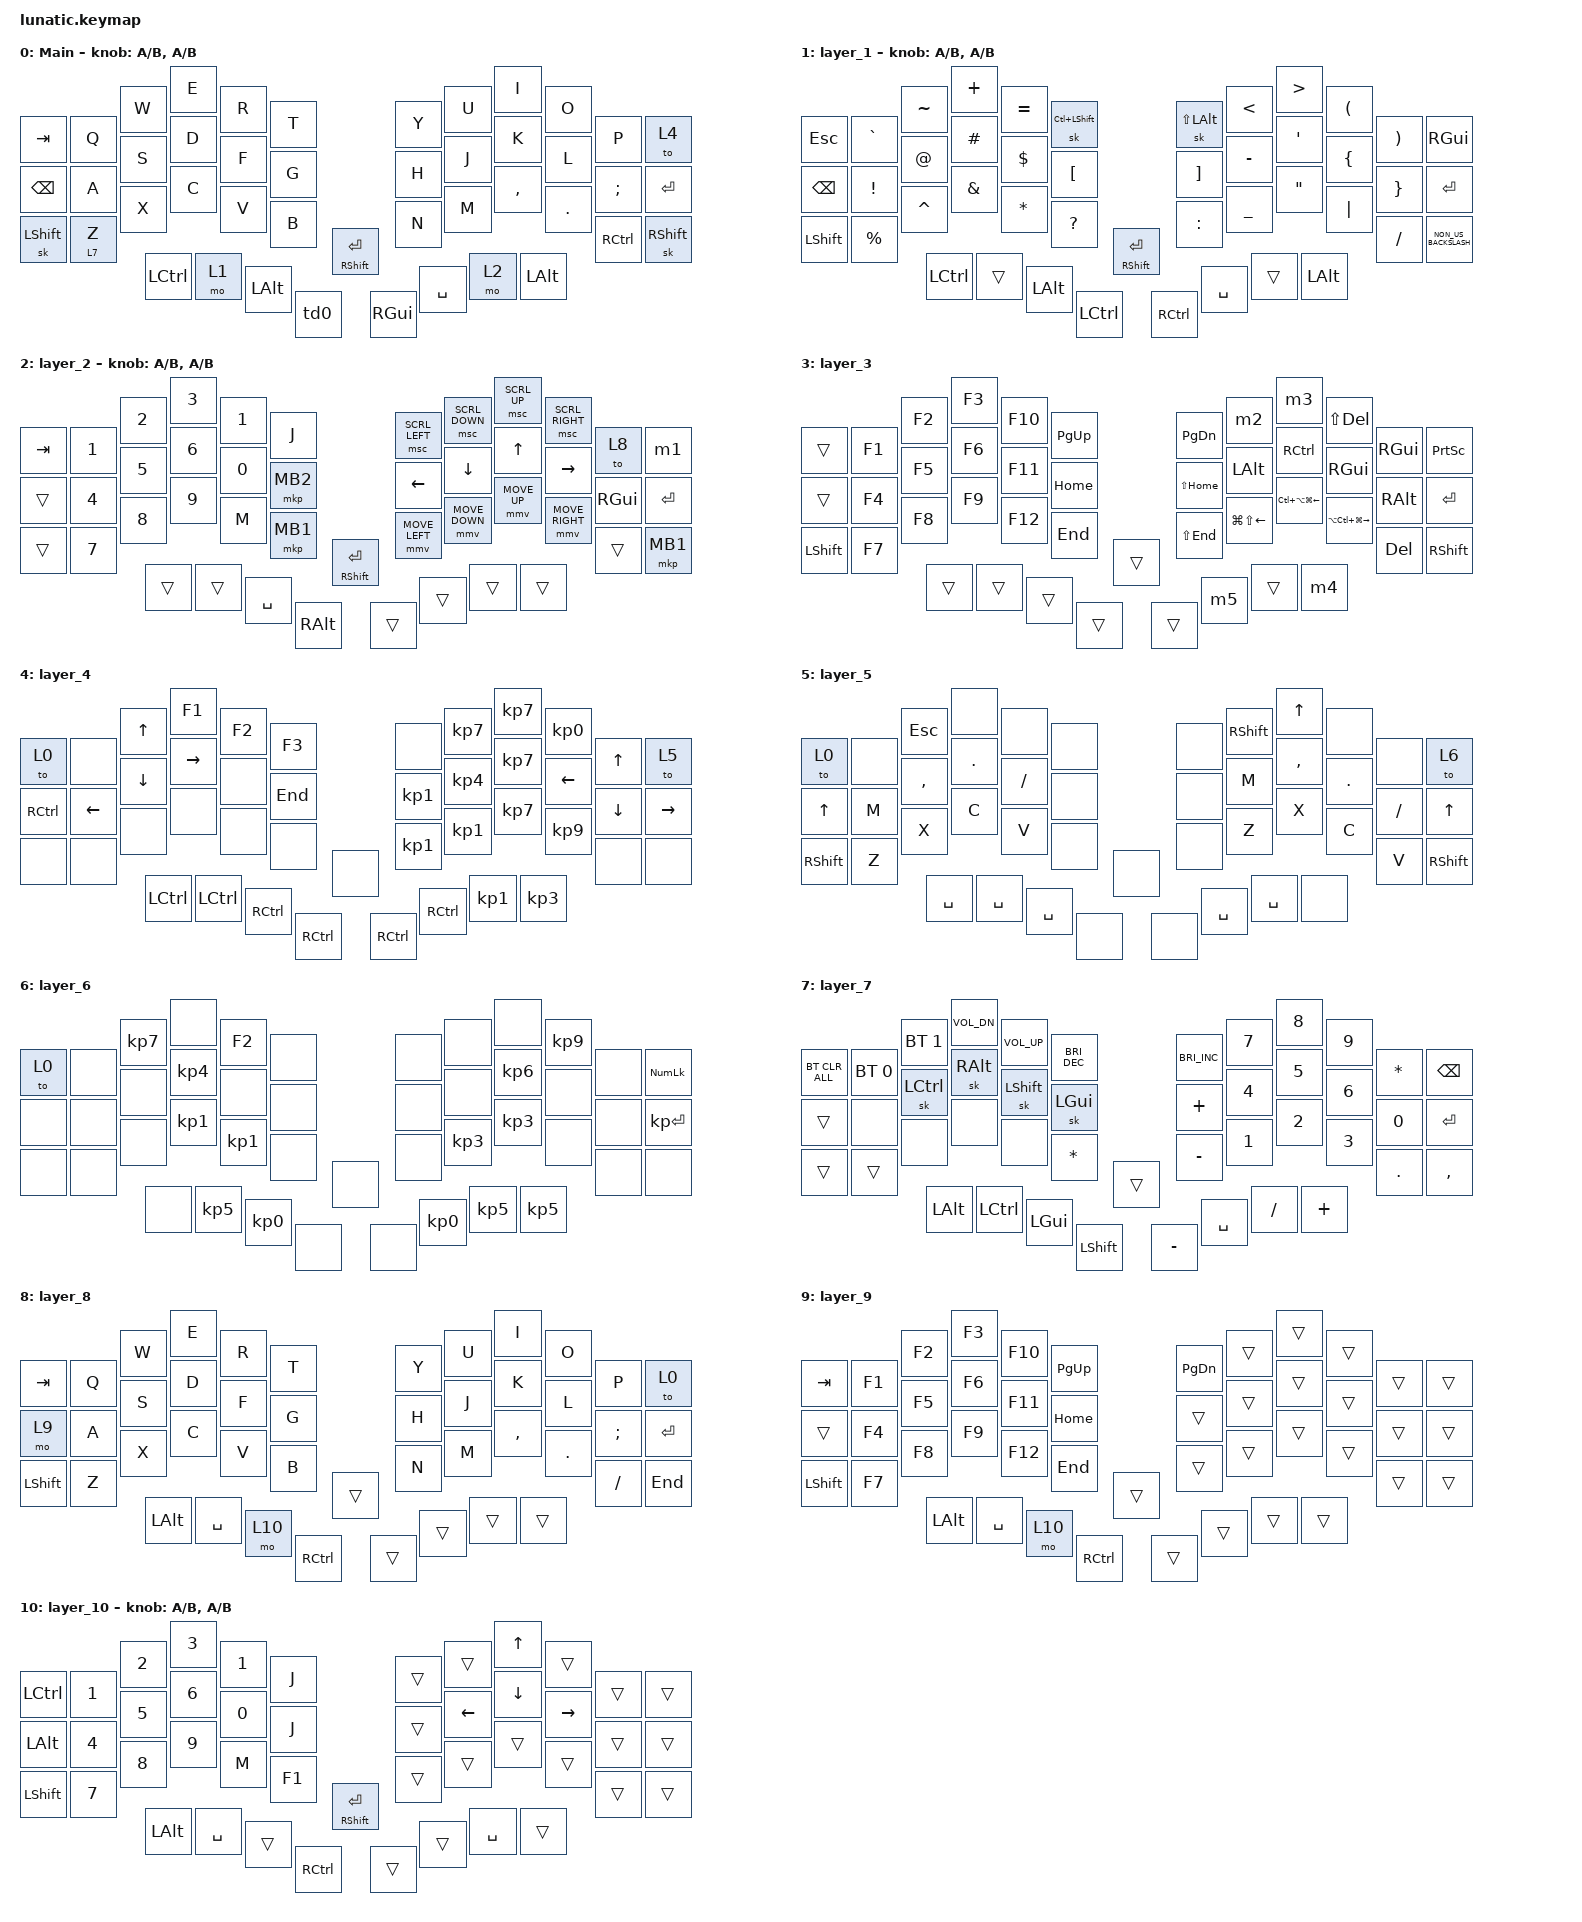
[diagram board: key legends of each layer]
/*
 * Copyright (c) 2020 The ZMK Contributors
 *
 * SPDX-License-Identifier: MIT
 */
// scroll

#define ZMK_POINTING_DEFAULT_MOVE_VAL 1200
#define ZMK_POINTING_DEFAULT_SCRL_VAL 600

#include <dt-bindings/zmk/input_transform.h>
#include <input/processors.dtsi>
#include <zephyr/dt-bindings/input/input-event-codes.h>
#include <dt-bindings/zmk/mouse.h>
#include <behaviors/mouse_keys.dtsi>

//#include <interfaces/hid-trackball.dtsi>  //zmk-hid-trackball-interface

#include <behaviors.dtsi>
#include <dt-bindings/zmk/bt.h>
#include <dt-bindings/zmk/keys.h>
#include <dt-bindings/zmk/pointing.h>

#define Main 0
#define Num 1
#define Mouse 2
#define Opt1 3
#define Opt2 4

//#define ZMK_POINTING_DEFAULT_MOVE_VAL 1200  // 600
//#define ZMK_POINTING_DEFAULT_SCRL_VAL 900   // mousescroll SPEED

&mmv_input_listener { input-processors = <&zip_xy_scaler 2 1>; };

&msc_input_listener { input-processors = <&zip_scroll_scaler 2 1>; };

&msc {
    acceleration-exponent = <1>;      // 0
    time-to-max-speed-ms = <100>;       // 300
    delay-ms = <0>;                   // 0
};

&mmv {
    time-to-max-speed-ms = <420>;
    acceleration-exponent = <1>;
    trigger-period-ms = <14>;
};

&soft_off {
    hold-time-ms = <3000>; // Only turn off it the key is held for 3 seconds or longer.
};

&mt {
    tapping-term-ms = <300>;
    flavor = "tap-preferred";
};

/ {
    behaviors {
        td0: tap_dance_0 {
            compatible = "zmk,behavior-tap-dance";
            #binding-cells = <0>;
            tapping-term-ms = <200>;
            bindings = <&kp LSHFT>, <&caps_word>;
        };
    };

    combos {
        compatible = "zmk,combos";

        esc {
            bindings = <&kp ESCAPE>;
            key-positions = <0 1>;
            layers = <0 8>;
        };

        select_to_bol {
            bindings = <&kp LS(HOME)>;
            key-positions = <30 31>;
            layers = <0>;
        };

        select_to_eol {
            bindings = <&kp RS(END)>;
            key-positions = <32 33>;
            layers = <0>;
        };

        word_backward {
            bindings = <&kp LC(LEFT)>;
            key-positions = <18 19>;
            layers = <0>;
        };

        word_forward {
            bindings = <&kp RC(RIGHT)>;
            key-positions = <20 21>;
            layers = <0>;
        };

        mousekey_3 {
            bindings = <&mkp MB3>;
            key-positions = <29 17>;
            layers = <2>;
        };

        esc-jk {
            bindings = <&kp ESCAPE>;
            key-positions = <19 20>;
            layers = <0>;
        };
    };

    macros {
        m0: m0 {
            compatible = "zmk,behavior-macro";
            #binding-cells = <0>;
            bindings = <&kp EQUAL &kp GT>;
            label = "M0";
        };

        m1: m1 {
            compatible = "zmk,behavior-macro";
            #binding-cells = <0>;
            bindings =
                <&macro_press>,
                <&kp LCTRL &kp LSHFT>,
                <&macro_tap>,
                <&kp ESC>,
                <&macro_release>,
                <&kp LCTRL &kp LSHFT>;

            label = "M1";
        };

        m2: m2 {
            compatible = "zmk,behavior-macro";
            #binding-cells = <0>;
            bindings =
                <&macro_press>,
                <&kp RGUI &kp LCTRL>,
                <&macro_tap>,
                <&kp LEFT>,
                <&macro_release>,
                <&kp RGUI &kp LCTRL>;

            label = "M2";
        };

        m3: m3 {
            compatible = "zmk,behavior-macro";
            #binding-cells = <0>;
            bindings =
                <&macro_press>,
                <&kp RGUI &kp LCTRL>,
                <&macro_tap>,
                <&kp RIGHT>,
                <&macro_release>,
                <&kp RGUI &kp LCTRL>;

            label = "M3";
        };

        m4: m4 {
            compatible = "zmk,behavior-macro";
            #binding-cells = <0>;
            bindings =
                <&macro_press>,
                <&kp RGUI &kp LCTRL>,
                <&macro_tap>,
                <&kp D>,
                <&macro_release>,
                <&kp RGUI &kp LCTRL>;

            label = "M4";
        };

        m5: m5 {
            compatible = "zmk,behavior-macro";
            #binding-cells = <0>;
            bindings =
                <&macro_press>,
                <&kp RGUI &kp LCTRL>,
                <&macro_tap>,
                <&kp F4>,
                <&macro_release>,
                <&kp RGUI &kp LCTRL>;

            label = "M5";
        };
    };

    keymap {
        compatible = "zmk,keymap";

        Main {
            display-name = "Main";
            bindings = <
&kp TAB        &kp Q    &kp W      &kp E  &kp R         &kp T  &kp Y          &kp U      &kp I      &kp O         &kp P      &to 4
&kp BACKSPACE  &kp A    &kp S      &kp D  &kp F         &kp G  &kp H          &kp J      &kp K      &kp L         &kp SEMI   &kp ENTER
&sk LSHFT      &lt 7 Z  &kp X      &kp C  &kp V         &kp B  &kp N          &kp M      &kp COMMA  &kp PERIOD    &kp RCTRL  &sk RSHIFT
&mt RSHFT RET           &kp LCTRL  &mo 1  &kp LEFT_ALT  &td0   &kp RIGHT_GUI  &kp SPACE  &mo 2      &kp LEFT_ALT
            >;

            //sensor-bindings = <&inc_dec_kp A B>, <&inc_dec_kp A B>;

            sensor-bindings = <&inc_dec_kp A B>, <&inc_dec_kp A B>;
        };

        layer_1 {
            display-name = "layer_1";
            bindings = <
&kp ESC        &kp GRAVE        &kp TILDE    &kp PLUS       &kp EQUAL     &sk LC(LSHFT)     &sk LS(LALT)       &kp LESS_THAN   &kp GREATER_THAN   &kp LEFT_PARENTHESIS  &kp RIGHT_PARENTHESIS  &kp RIGHT_GUI
&kp BACKSPACE  &kp EXCLAMATION  &kp AT_SIGN  &kp HASH       &kp DOLLAR    &kp LEFT_BRACKET  &kp RIGHT_BRACKET  &kp MINUS       &kp SQT            &kp LEFT_BRACE        &kp RIGHT_BRACE        &kp ENTER
&kp LSHFT      &kp PERCENT      &kp CARET    &kp AMPERSAND  &kp ASTERISK  &kp QUESTION      &kp COLON          &kp UNDERSCORE  &kp DOUBLE_QUOTES  &kp PIPE              &kp SLASH              &kp NON_US_BACKSLASH
&mt RSHFT RET                   &kp LCTRL    &trans         &kp LEFT_ALT  &kp LCTRL         &kp RCTRL          &kp SPACE       &trans             &kp LEFT_ALT
            >;

            sensor-bindings = <&inc_dec_kp A B>, <&inc_dec_kp A B>;
        };

        layer_2 {
            display-name = "layer_2";
            bindings = <
&kp TAB        &kp NUMBER_1  &kp NUMBER_2  &kp NUMBER_3  &kp NUMBER_1  &kp J          &msc SCRL_LEFT  &msc SCRL_DOWN  &msc SCRL_UP  &msc SCRL_RIGHT  &to 8          &m1
&trans         &kp NUMBER_4  &kp NUMBER_5  &kp NUMBER_6  &kp NUMBER_0  &mkp MB2       &kp LEFT        &kp DOWN        &kp UP_ARROW  &kp RIGHT        &kp RIGHT_GUI  &kp ENTER
&trans         &kp NUMBER_7  &kp NUMBER_8  &kp NUMBER_9  &kp M         &mkp MB1       &mmv MOVE_LEFT  &mmv MOVE_DOWN  &mmv MOVE_UP  &mmv MOVE_RIGHT  &trans         &mkp MB1
&mt RSHFT RET                &trans        &trans        &kp SPACE     &kp RIGHT_ALT  &trans          &trans          &trans        &trans
            >;

            sensor-bindings = <&inc_dec_kp A B>, <&inc_dec_kp A B>;
        };

        layer_3 {
            bindings = <
&trans     &kp F1  &kp F2  &kp F3  &kp F10  &kp PAGE_UP  &kp PAGE_DOWN  &m2                     &m3                         &kp LS(DEL)            &kp RIGHT_GUI  &kp PRINTSCREEN
&trans     &kp F4  &kp F5  &kp F6  &kp F11  &kp HOME     &kp LS(HOME)   &kp LALT                &kp RCTRL                   &kp RGUI               &kp RALT       &kp ENTER
&kp LSHFT  &kp F7  &kp F8  &kp F9  &kp F12  &kp END      &kp LS(END)    &kp LG(LS(LEFT_ARROW))  &kp LC(LA(LG(LEFT_ARROW)))  &kp LA(LC(LG(RIGHT)))  &kp DEL        &kp RSHFT
&trans             &trans  &trans  &trans   &trans       &trans         &m5                     &trans                      &m4
            >;

            label = "layer_3";
        };

        layer_4 {
            bindings = <
&to 0      &none           &kp UP_ARROW    &kp F1     &kp F2     &kp F3     &none            &kp KP_NUMBER_7  &kp KP_NUMBER_7  &kp KP_NUMBER_0  &kp UP_ARROW  &to 5
&kp RCTRL  &kp LEFT_ARROW  &kp DOWN_ARROW  &kp RIGHT  &none      &kp END    &kp KP_NUMBER_1  &kp KP_NUMBER_4  &kp KP_NUMBER_7  &kp LEFT_ARROW   &kp DOWN      &kp RIGHT
&none      &none           &none           &none      &none      &none      &kp KP_NUMBER_1  &kp KP_NUMBER_1  &kp KP_NUMBER_7  &kp KP_NUMBER_9  &none         &none
&none                      &kp LCTRL       &kp LCTRL  &kp RCTRL  &kp RCTRL  &kp RCTRL        &kp RCTRL        &kp KP_NUMBER_1  &kp KP_NUMBER_3
            >;

            label = "layer_4";
        };

        layer_5 {
            bindings = <
&to 0         &none  &kp ESCAPE  &none      &none      &none  &none  &kp RIGHT_SHIFT  &kp UP_ARROW  &none       &none      &to 6
&kp UP_ARROW  &kp M  &kp COMMA   &kp DOT    &kp FSLH   &none  &none  &kp M            &kp COMMA     &kp PERIOD  &kp SLASH  &kp UP_ARROW
&kp RSHFT     &kp Z  &kp X       &kp C      &kp V      &none  &none  &kp Z            &kp X         &kp C       &kp V      &kp RIGHT_SHIFT
&none                &kp SPACE   &kp SPACE  &kp SPACE  &none  &none  &kp SPACE        &kp SPACE     &none
            >;
        };

        layer_6 {
            bindings = <
&to 0  &none  &kp KP_NUMBER_7  &none            &kp F2           &none  &none  &none            &none            &kp KP_NUMBER_9  &none  &kp KP_NUMLOCK
&none  &none  &none            &kp KP_NUMBER_4  &none            &none  &none  &none            &kp KP_NUMBER_6  &none            &none  &kp KP_ENTER
&none  &none  &none            &kp KP_NUMBER_1  &kp KP_NUMBER_1  &none  &none  &kp KP_NUMBER_3  &kp KP_NUMBER_3  &none            &none  &none
&none         &none            &kp KP_NUMBER_5  &kp KP_NUMBER_0  &none  &none  &kp KP_NUMBER_0  &kp KP_NUMBER_5  &kp KP_NUMBER_5
            >;
        };

        layer_7 {
            bindings = <
&bt BT_CLR_ALL  &bt BT_SEL 0  &bt BT_SEL 1  &kp C_VOL_DN   &kp C_VOLUME_UP  &kp C_BRIGHTNESS_DEC  &kp C_BRIGHTNESS_INC  &kp NUMBER_7  &kp NUMBER_8  &kp NUMBER_9  &kp ASTERISK  &kp BACKSPACE
&trans          &none         &sk LCTRL     &sk RIGHT_ALT  &sk LEFT_SHIFT   &sk LEFT_GUI          &kp PLUS              &kp NUMBER_4  &kp NUMBER_5  &kp NUMBER_6  &kp NUMBER_0  &kp ENTER
&trans          &trans        &none         &none          &none            &kp ASTERISK          &kp MINUS             &kp NUMBER_1  &kp NUMBER_2  &kp NUMBER_3  &kp PERIOD    &kp COMMA
&trans                        &kp LEFT_ALT  &kp LCTRL      &kp LEFT_GUI     &kp LEFT_SHIFT        &kp MINUS             &kp SPACE     &kp SLASH     &kp PLUS
            >;
        };

        layer_8 {
            bindings = <
&kp TAB         &kp Q  &kp W         &kp E      &kp R   &kp T      &kp Y   &kp U   &kp I      &kp O    &kp P     &to 0
&mo 9           &kp A  &kp S         &kp D      &kp F   &kp G      &kp H   &kp J   &kp K      &kp L    &kp SEMI  &kp ENTER
&kp LEFT_SHIFT  &kp Z  &kp X         &kp C      &kp V   &kp B      &kp N   &kp M   &kp COMMA  &kp DOT  &kp FSLH  &kp END
&trans                 &kp LEFT_ALT  &kp SPACE  &mo 10  &kp RCTRL  &trans  &trans  &trans     &trans
            >;

            label = "layer_8";
        };

        layer_9 {
            label = "layer_9";
            bindings = <
&kp TAB    &kp F1  &kp F2    &kp F3     &kp F10  &kp PAGE_UP  &kp PAGE_DOWN  &trans  &trans  &trans  &trans  &trans
&trans     &kp F4  &kp F5    &kp F6     &kp F11  &kp HOME     &trans         &trans  &trans  &trans  &trans  &trans
&kp LSHFT  &kp F7  &kp F8    &kp F9     &kp F12  &kp END      &trans         &trans  &trans  &trans  &trans  &trans
&trans             &kp LALT  &kp SPACE  &mo 10   &kp RCTRL    &trans         &trans  &trans  &trans
            >;
        };

        layer_10 {
            display-name = "layer_10";
            bindings = <
&kp LCTRL       &kp NUMBER_1  &kp NUMBER_2  &kp NUMBER_3  &kp NUMBER_1  &kp J      &trans  &trans          &kp UP_ARROW  &trans     &trans  &trans
&kp LEFT_ALT    &kp NUMBER_4  &kp NUMBER_5  &kp NUMBER_6  &kp NUMBER_0  &kp J      &trans  &kp LEFT_ARROW  &kp DOWN      &kp RIGHT  &trans  &trans
&kp LEFT_SHIFT  &kp NUMBER_7  &kp NUMBER_8  &kp NUMBER_9  &kp M         &kp F1     &trans  &trans          &trans        &trans     &trans  &trans
&mt RSHFT RET                 &kp LEFT_ALT  &kp SPACE     &trans        &kp RCTRL  &trans  &trans          &kp SPACE     &trans
            >;

            sensor-bindings = <&inc_dec_kp A B>, <&inc_dec_kp A B>;
        };
    };

    conditional_layers {
        compatible = "zmk,conditional-layers";

        tri_layer {
            if-layers = <1 2>;
            then-layer = <3>;
        };
    };
};
